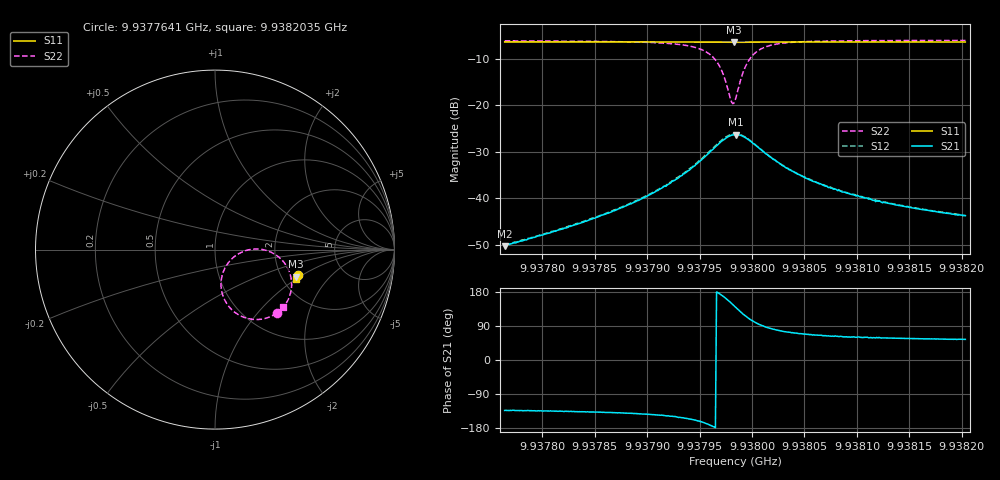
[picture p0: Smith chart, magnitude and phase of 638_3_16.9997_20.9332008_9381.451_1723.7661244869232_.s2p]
#  HZ  S  RI  R  50.00
! Rohde & Schwarz Vector Network Analyzer
! Rohde-Schwarz,ZNB20-2Port,1311601062101988,3.16
! Created: UTC 3/20/2024, 11:20:44 PM
! freq[Hz]  re:S11  im:S11  re:S21  im:S21  re:S12  im:S12  re:S22  im:S22
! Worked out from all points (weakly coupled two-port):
!   401 points, 9.9377641 GHz to 9.9382035 GHz, reference 50 ohm
!   highest |S21| = -26.31 dB at 9.9379849 GHz (marker M1); lowest = -50.3 dB at 9.9377641 GHz (marker M2)
!   lowest |S11| = -6.5 dB at 9.9379827 GHz (marker M3), VSWR 2.81, Z = 119 - j46.3 ohm
!   |S11| at or under -10 dB: nowhere
!   |S22| runs from -19.6 to -6.1 dB; largest |S21 - S12| = 0.0024
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9.93776407e9  0.4613 -0.1387  -0.00208 -0.00222  -0.00216 -0.00227  0.3445 -0.3533
9.93783767e9  0.4591 -0.1439  -0.00394 -0.00376  -0.00407 -0.00378  0.3239 -0.366
9.93787832e9  0.4579 -0.1466  -0.00623 -0.00522  -0.00642 -0.00521  0.3016 -0.3765
9.93791127e9  0.4566 -0.1492  -0.0102 -0.00705  -0.0104 -0.00695  0.266 -0.3866
9.93794203e9  0.4549 -0.1515  -0.0193 -0.00841  -0.0198 -0.00824  0.1893 -0.3855
9.93795961e9  0.4529 -0.1526  -0.0307 -0.00461  -0.0318 -0.00417  0.099 -0.3399
9.9379695e9  0.4516 -0.1523  -0.0393 0.00423  -0.0404 0.00536  0.0431 -0.2538
9.93797389e9  0.4509 -0.1517  -0.0418 0.0112  -0.0427 0.0128  0.0334 -0.1925
9.93797938e9  0.4505 -0.1509  -0.0416 0.0219  -0.0418 0.024  0.0545 -0.1045
9.93798158e9  0.4505 -0.1505  -0.04 0.0265  -0.04 0.0286  0.0756 -0.0716
9.93798268e9  0.4505 -0.1503  -0.0387 0.0285  -0.0386 0.0309  0.0888 -0.0565
9.93798378e9  0.4507 -0.1502  -0.0373 0.0306  -0.0372 0.0328  0.1034 -0.0427
9.93798488e9  0.4507 -0.15  -0.0359 0.0325  -0.0353 0.0345  0.1193 -0.0308
9.93799037e9  0.4516 -0.1493  -0.026 0.039  -0.025 0.0404  0.2081 0.00216
9.93799366e9  0.4522 -0.149  -0.0197 0.0402  -0.0186 0.0415  0.2597 0.00122
9.93799916e9  0.4532 -0.1494  -0.0108 0.0391  -0.00947 0.0398  0.329 -0.0234
9.93800465e9  0.4539 -0.15  -0.00419 0.0358  -0.00321 0.0363  0.3742 -0.0591
9.93802332e9  0.4546 -0.1524  0.00464 0.0244  0.00536 0.0244  0.4246 -0.1641
9.93805738e9  0.4543 -0.1557  0.00628 0.014  0.00644 0.0142  0.4189 -0.2488
9.93808924e9  0.4534 -0.1582  0.00559 0.0101  0.00558 0.0101  0.4067 -0.2812
9.93813098e9  0.4524 -0.1611  0.00466 0.00743  0.00486 0.0074  0.3942 -0.3027
9.93820348e9  0.4503 -0.1662  0.00376 0.00525  0.00392 0.00525  0.3801 -0.322
